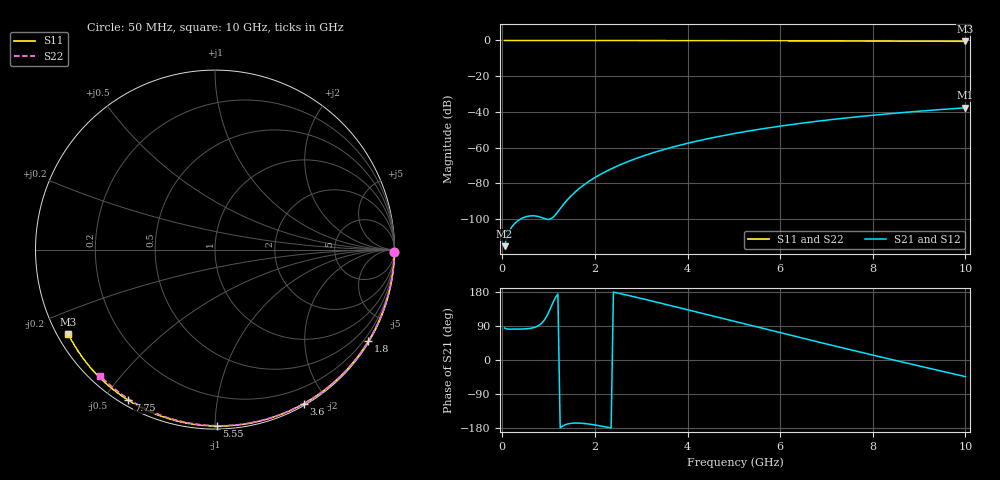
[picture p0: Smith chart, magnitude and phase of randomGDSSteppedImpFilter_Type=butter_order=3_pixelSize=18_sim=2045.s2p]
! freq	dB(S11)	phase(S11)	dB(S12)	phase(S12)
!  dB(S21)	phase(S21)	dB(S22)	phase(S22)
!S-par simulation data
#  GHz  S  DB  R 50
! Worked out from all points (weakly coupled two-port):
!   200 points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, 50 MHz to 10 GHz, reference 50 ohm
!   highest |S21| = -37.71 dB at 10 GHz (marker M1); lowest = -115.2 dB at 50 MHz (marker M2)
!   lowest |S11| = -0.5 dB at 10 GHz (marker M3), VSWR 34.32, Z = 1.56 - j13.4 ohm
!   |S11| at or under -10 dB: nowhere
!   |S22| runs from -0.4 to 0.0 dB; largest |S21 - S12| = 0
!   S11 on the Smith chart (normalised r, x): 50 MHz: open; 1.8 GHz: 0.03, -3.62; 3.6 GHz: 0.02, -1.73; 5.55 GHz: 0.02, -1.01; 7.75 GHz: 0.02, -0.58; 10 GHz: 0.03, -0.27
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0.05  -0.00 -0.9  -115.22 84.3  -115.22 84.3  -0.00 -0.8
0.45  -0.01 -7.8  -99.29 81.8  -99.29 81.8  -0.01 -6.9
0.9  -0.02 -15.6  -99.66 104.1  -99.66 104.1  -0.02 -13.7
1.3  -0.03 -22.4  -92.49 -174.6  -92.49 -174.6  -0.02 -19.7
1.75  -0.04 -30.0  -81.12 -167.2  -81.12 -167.2  -0.03 -26.4
1.8  -0.04 -30.9  -80.17 -167.9  -80.17 -167.9  -0.03 -27.2
2.15  -0.05 -36.7  -74.57 -174.7  -74.57 -174.7  -0.04 -32.3
2.5  -0.05 -42.5  -70.14 176.5  -70.14 176.5  -0.05 -37.4
2.9  -0.06 -49.0  -66.00 165.3  -66.00 165.3  -0.06 -43.2
3.4  -0.08 -57.0  -61.76 150.6  -61.76 150.6  -0.07 -50.3
3.6  -0.08 -60.1  -60.27 144.6  -60.27 144.6  -0.07 -53.1
3.9  -0.09 -64.8  -58.24 135.6  -58.24 135.6  -0.08 -57.3
4.3  -0.10 -71.0  -55.81 123.5  -55.81 123.5  -0.09 -62.7
5.05  -0.13 -82.2  -51.94 100.7  -51.94 100.7  -0.11 -72.8
5.55  -0.15 -89.5  -49.75 85.5  -49.75 85.5  -0.13 -79.3
6.1  -0.17 -97.3  -47.62 69.0  -47.62 69.0  -0.15 -86.3
6.7  -0.21 -105.7  -45.57 51.1  -45.57 51.1  -0.18 -93.7
7.2  -0.24 -112.5  -44.05 36.3  -44.05 36.3  -0.21 -99.8
7.75  -0.28 -120.0  -42.53 20.2  -42.53 20.2  -0.24 -106.4
8.35  -0.33 -128.0  -41.05 2.9  -41.05 2.9  -0.29 -113.4
9.2  -0.41 -139.2  -39.21 -21.3  -39.21 -21.3  -0.36 -123.2
10  -0.51 -149.9  -37.71 -43.9  -37.71 -43.9  -0.45 -132.3
